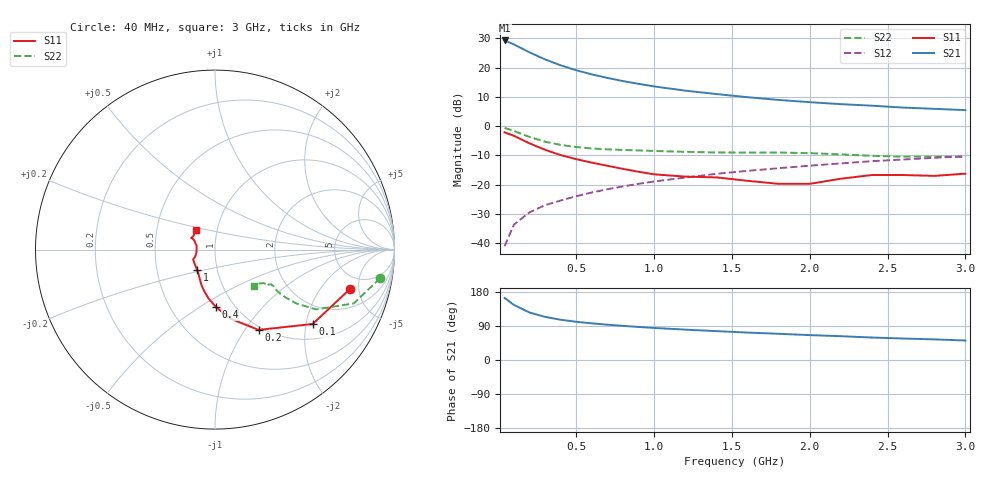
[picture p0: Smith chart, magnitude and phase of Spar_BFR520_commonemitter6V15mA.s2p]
! Filename:  BFR520J.S2P  Version:  2.1
! NXP part #: BFR520  Date: Sep 1991
! Bias condition: Vce=6V, Ic=15mA
#  MHz  S  MA  R  50
! Freq  S11  S21  S12  S22  !GUM [dB]
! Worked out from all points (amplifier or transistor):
!   21 points, 40 MHz to 3 GHz, reference 50 ohm
!   highest |S21| = 29.2 dB at 40 MHz (marker M1)
!   |S21| within 3 dB of that: start of sweep to 160.7 MHz
!   unconditionally stable (mu >= 1): 1.008 GHz to end of sweep
!   at 300 MHz: K = 0.71, MSG = 24.8 dB, |S12| = -26.9 dB
!   at 1 GHz: K = 1.00, MSG = 16.2 dB, |S12| = -18.9 dB
!   at 3 GHz: K = 1.02, MAG = 7.1 dB, |S12| = -10.2 dB
!   lowest NFmin = 1.30 dB at 500 MHz
!   S11 on the Smith chart (normalised r, x): 40 MHz: 3.54, -4.02; 100 MHz: 1.40, -2.18; 200 MHz: 0.96, -1.16; 400 MHz: 0.82, -0.59; 1 GHz: 0.80, -0.19; 3 GHz: 0.79, +0.18
40  0.784 -16.2  28.91 163.7  0.009 83.1  0.934 -9.8
100  0.684 -37.3  24.73 145.3  0.021 73.3  0.829 -21.2
200  0.509 -61.5  18.11 125.3  0.034 67.4  0.654 -30.6
300  0.395 -77.3  13.73 113.8  0.045 67.2  0.544 -33.5
400  0.321 -88.9  10.9 106.2  0.054 67.8  0.479 -34.1
500  0.274 -97.6  8.977 100.9  0.064 68.9  0.441 -34.0
600  0.239 -104.6  7.637 96.7  0.074 69.6  0.417 -33.7
700  0.211 -111.0  6.644 93.2  0.084 70.8  0.403 -33.2
800  0.187 -116.7  5.871 90.1  0.094 71.4  0.393 -32.5
900  0.167 -122.9  5.269 87.2  0.104 71.7  0.386 -32.1
1000  0.151 -131.0  4.765 84.6  0.114 71.9  0.378 -31.8
1200  0.138 -145.4  4.034 80.2  0.133 71.8  0.365 -31.9
1400  0.134 -155.5  3.528 76.2  0.154 71.3  0.356 -33.2
1600  0.117 -160.6  3.118 72.4  0.173 70.7  0.355 -33.5
1800  0.104 -172.5  2.802 69.2  0.192 70.3  0.355 -34.4
2000  0.104 168.9  2.564 65.7  0.212 69.2  0.347 -34.1
2200  0.127 155.9  2.372 62.8  0.232 68.2  0.33 -34.4
2400  0.147 152.9  2.234 59.3  0.253 66.9  0.312 -37.2
2600  0.147 154.1  2.074 56.7  0.27 65.6  0.302 -40.9
2800  0.142 146.9  1.975 54.4  0.289 64.9  0.304 -42.9
3000  0.155 133.8  1.878 51.4  0.308 63.6  0.298 -42.4
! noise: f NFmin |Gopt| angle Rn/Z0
500  1.3  0.25  25  0.24
900  1.45  0.218  45  0.25
1000  1.5  0.205  53  0.28
2000  2.05  0.135  167  0.17
